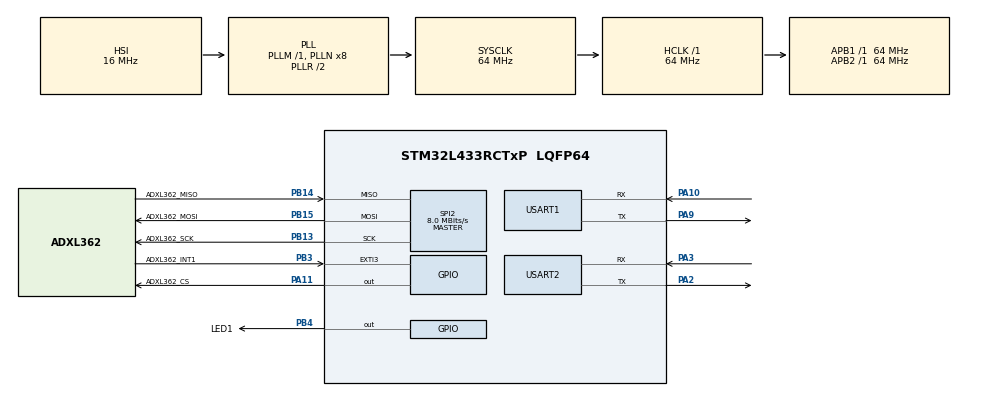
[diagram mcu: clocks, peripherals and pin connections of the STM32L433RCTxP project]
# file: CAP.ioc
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Dma.Request0=SPI2_TX
Dma.Request1=SPI2_RX
Dma.Request2=USART2_RX
Dma.Request3=USART2_TX
Dma.Request4=USART1_RX
Dma.Request5=USART1_TX
Dma.SPI2_RX.1.Direction=DMA_PERIPH_TO_MEMORY
Dma.SPI2_RX.1.Instance=DMA1_Channel4
Dma.SPI2_RX.1.MemDataAlignment=DMA_MDATAALIGN_BYTE
Dma.SPI2_RX.1.MemInc=DMA_MINC_ENABLE
Dma.SPI2_RX.1.Mode=DMA_NORMAL
Dma.SPI2_RX.1.PeriphDataAlignment=DMA_PDATAALIGN_BYTE
Dma.SPI2_RX.1.PeriphInc=DMA_PINC_DISABLE
Dma.SPI2_RX.1.Priority=DMA_PRIORITY_LOW
Dma.SPI2_TX.0.Direction=DMA_MEMORY_TO_PERIPH
Dma.SPI2_TX.0.Instance=DMA1_Channel5
Dma.SPI2_TX.0.MemDataAlignment=DMA_MDATAALIGN_BYTE
Dma.SPI2_TX.0.MemInc=DMA_MINC_ENABLE
Dma.SPI2_TX.0.Mode=DMA_NORMAL
Dma.SPI2_TX.0.PeriphDataAlignment=DMA_PDATAALIGN_BYTE
Dma.SPI2_TX.0.PeriphInc=DMA_PINC_DISABLE
Dma.SPI2_TX.0.Priority=DMA_PRIORITY_LOW
Dma.USART1_RX.4.Direction=DMA_PERIPH_TO_MEMORY
Dma.USART1_RX.4.Instance=DMA2_Channel7
Dma.USART1_RX.4.MemDataAlignment=DMA_MDATAALIGN_BYTE
Dma.USART1_RX.4.MemInc=DMA_MINC_ENABLE
Dma.USART1_RX.4.Mode=DMA_NORMAL
Dma.USART1_RX.4.PeriphDataAlignment=DMA_PDATAALIGN_BYTE
Dma.USART1_RX.4.PeriphInc=DMA_PINC_DISABLE
Dma.USART1_RX.4.Priority=DMA_PRIORITY_LOW
Dma.USART1_TX.5.Direction=DMA_MEMORY_TO_PERIPH
Dma.USART1_TX.5.Instance=DMA2_Channel6
Dma.USART1_TX.5.MemDataAlignment=DMA_MDATAALIGN_BYTE
Dma.USART1_TX.5.MemInc=DMA_MINC_ENABLE
Dma.USART1_TX.5.Mode=DMA_NORMAL
Dma.USART1_TX.5.PeriphDataAlignment=DMA_PDATAALIGN_BYTE
Dma.USART1_TX.5.PeriphInc=DMA_PINC_DISABLE
Dma.USART1_TX.5.Priority=DMA_PRIORITY_LOW
Dma.USART2_RX.2.Direction=DMA_PERIPH_TO_MEMORY
Dma.USART2_RX.2.Instance=DMA1_Channel6
Dma.USART2_RX.2.MemDataAlignment=DMA_MDATAALIGN_BYTE
Dma.USART2_RX.2.MemInc=DMA_MINC_ENABLE
Dma.USART2_RX.2.Mode=DMA_CIRCULAR
Dma.USART2_RX.2.PeriphDataAlignment=DMA_PDATAALIGN_BYTE
Dma.USART2_RX.2.PeriphInc=DMA_PINC_DISABLE
Dma.USART2_RX.2.Priority=DMA_PRIORITY_LOW
Dma.USART2_TX.3.Direction=DMA_MEMORY_TO_PERIPH
Dma.USART2_TX.3.Instance=DMA1_Channel7
Dma.USART2_TX.3.MemDataAlignment=DMA_MDATAALIGN_BYTE
Dma.USART2_TX.3.MemInc=DMA_MINC_ENABLE
Dma.USART2_TX.3.Mode=DMA_CIRCULAR
Dma.USART2_TX.3.PeriphDataAlignment=DMA_PDATAALIGN_BYTE
Dma.USART2_TX.3.PeriphInc=DMA_PINC_DISABLE
Dma.USART2_TX.3.Priority=DMA_PRIORITY_LOW
Mcu.Family=STM32L4
Mcu.Name=STM32L433RCTxP
Mcu.Package=LQFP64
NVIC.DMA1_Channel4_IRQn=true\:0\:0\:false\:false\:true\:false\:true
NVIC.DMA1_Channel5_IRQn=true\:0\:0\:false\:false\:true\:false\:true
NVIC.DMA1_Channel6_IRQn=true\:0\:0\:false\:false\:true\:false\:true
NVIC.DMA1_Channel7_IRQn=true\:0\:0\:false\:false\:true\:false\:true
NVIC.DMA2_Channel6_IRQn=true\:0\:0\:false\:false\:true\:false\:true
NVIC.DMA2_Channel7_IRQn=true\:0\:0\:false\:false\:true\:false\:true
NVIC.EXTI3_IRQn=true\:0\:0\:false\:false\:true\:true\:true
NVIC.PriorityGroup=NVIC_PRIORITYGROUP_4
PA10.Mode=Asynchronous
PA10.Signal=USART1_RX
PA11.GPIO_Label=ADXL362_CS
PA11.GPIO_Speed=GPIO_SPEED_FREQ_VERY_HIGH
PA11.PinState=GPIO_PIN_SET
PA11.Signal=GPIO_Output
PA13\ (JTMS-SWDIO).Mode=Serial_Wire
PA13\ (JTMS-SWDIO).Signal=SYS_JTMS-SWDIO
PA14\ (JTCK-SWCLK).Mode=Serial_Wire
PA14\ (JTCK-SWCLK).Signal=SYS_JTCK-SWCLK
PA2.Mode=Asynchronous
PA2.Signal=USART2_TX
PA3.Mode=Asynchronous
PA3.Signal=USART2_RX
PA9.Mode=Asynchronous
PA9.Signal=USART1_TX
PB13.GPIO_Label=ADXL362_SCK
PB13.Mode=Full_Duplex_Master
PB13.Signal=SPI2_SCK
PB14.GPIO_Label=ADXL362_MISO
PB14.Mode=Full_Duplex_Master
PB14.Signal=SPI2_MISO
PB15.GPIO_Label=ADXL362_MOSI
PB15.Mode=Full_Duplex_Master
PB15.Signal=SPI2_MOSI
PB3\ (JTDO-TRACESWO).GPIO_Label=ADXL362_INT1
PB3\ (JTDO-TRACESWO).Signal=GPXTI3
PB4\ (NJTRST).GPIO_Label=LED1
PB4\ (NJTRST).GPIO_Speed=GPIO_SPEED_FREQ_VERY_HIGH
PB4\ (NJTRST).Signal=GPIO_Output
ProjectManager.HeapSize=0x200
ProjectManager.StackSize=0x400
ProjectManager.TargetToolchain=SW4STM32
RCC.ADCFreq_Value=64000000
RCC.AHBFreq_Value=64000000
RCC.APB1Freq_Value=64000000
RCC.APB1TimFreq_Value=64000000
RCC.APB2Freq_Value=64000000
RCC.APB2TimFreq_Value=64000000
RCC.CortexFreq_Value=64000000
RCC.HCLKFreq_Value=64000000
RCC.HSE_VALUE=8000000
RCC.HSI48_VALUE=48000000
RCC.HSI_VALUE=16000000
RCC.LSE_VALUE=32768
RCC.MSI_VALUE=4000000
RCC.PLLSourceVirtual=RCC_PLLSOURCE_HSI
RCC.PREFETCH_ENABLE=1
RCC.SYSCLKFreq_VALUE=64000000
RCC.SYSCLKSource=RCC_SYSCLKSOURCE_PLLCLK
RCC.USBFreq_Value=64000000
RCC.VCOOutputFreq_Value=128000000
SPI2.BaudRatePrescaler=SPI_BAUDRATEPRESCALER_8
SPI2.CalculateBaudRate=8.0 MBits/s
SPI2.DataSize=SPI_DATASIZE_8BIT
SPI2.Direction=SPI_DIRECTION_2LINES
SPI2.Mode=SPI_MODE_MASTER
SPI2.VirtualType=VM_MASTER
USART1.VirtualMode-Asynchronous=VM_ASYNC
USART2.VirtualMode-Asynchronous=VM_ASYNC
board=NUCLEO-L433RC-P

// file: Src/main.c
/* USER CODE BEGIN Header */
/**
  ******************************************************************************
  * @file           : main.c
  * @brief          : Main program body
  ******************************************************************************
  * @attention
  *
  * <h2><center>&copy; Copyright (c) 2019 STMicroelectronics.
  * All rights reserved.</center></h2>
  *
  * This software component is licensed by ST under BSD 3-Clause license,
  * the "License"; You may not use this file except in compliance with the
  * License. You may obtain a copy of the License at:
  *                        opensource.org/licenses/BSD-3-Clause
  *
  ******************************************************************************
  */
/* USER CODE END Header */

#include "main.h"

/* USER CODE BEGIN Includes */
#include "ADXL362.h"
/* USER CODE END Includes */

SPI_HandleTypeDef hspi2;
DMA_HandleTypeDef hdma_spi2_tx;
DMA_HandleTypeDef hdma_spi2_rx;

UART_HandleTypeDef huart1;
UART_HandleTypeDef huart2;
DMA_HandleTypeDef hdma_usart1_rx;
DMA_HandleTypeDef hdma_usart1_tx;
DMA_HandleTypeDef hdma_usart2_rx;
DMA_HandleTypeDef hdma_usart2_tx;

void SystemClock_Config(void);
static void MX_GPIO_Init(void);
static void MX_DMA_Init(void);
static void MX_SPI2_Init(void);
static void MX_USART2_UART_Init(void);
static void MX_USART1_UART_Init(void);

int main(void)
{
  /* USER CODE BEGIN 1 */
	float ang[400], thresh[4], tilt[3];
	char message[200];
	uint8_t GarageState;
	uint16_t  data_counter = 0;
	volatile uint32_t  ADXL362_AFlag = 0;
  /* USER CODE END 1 */

  /* MCU Configuration--------------------------------------------------------*/

  /* Reset of all peripherals, Initializes the Flash interface and the Systick. */
  HAL_Init();

  /* Configure the system clock */
  SystemClock_Config();

  /* Initialize all configured peripherals */
  MX_GPIO_Init();
  MX_DMA_Init();
  MX_SPI2_Init();
  MX_USART2_UART_Init();
  MX_USART1_UART_Init();
  /* USER CODE BEGIN 2 */

	// Initialize ADXL362
	ADXL362_Init();

	ADXL362_GetAngT(thresh, 0);

	// Display & transmit current threshold angles
	sprintf(message, "\r\nxT:%+lf yT:%+lf zT:%+lf Temp:%lf\r\n", thresh[0], thresh[1], thresh[2], thresh[3]);
	HAL_UART_Transmit(&huart2, (uint8_t*)message, strlen(message), 0xFFFF);

  /* USER CODE END 2 */

  /* Infinite loop */
  /* USER CODE BEGIN WHILE */
  while (1)
  {
	  // Check ADXL362 Awake interrupt to determine if the device is moving
	  ADXL362_AFlag = HAL_GPIO_ReadPin(ADXL362_INT1_GPIO_Port, ADXL362_INT1_Pin);
	  if (ADXL362_AFlag == 0){			// If the device is not moving then sleep
		  sprintf(message, "\r\nMCU is going night night!\r\n");
		  HAL_UART_Transmit(&huart2, (uint8_t*)message, strlen(message), 0xFFFF);
		  ADXL362_GetAngT(ang, 0);
		  ADXL362_GetTiltState(ang, 0, thresh, tilt, &GarageState);

		  // Display & transmit final garage door data
		  sprintf(message, " X%+lf Y%+lf Z%+lf T%+lf S%d A%+lf \r\n", ang[data_counter], ang[1 + data_counter], ang[2 + data_counter], ang[3 + data_counter], GarageState, tilt[1]);
		  HAL_UART_Transmit(&huart2, (uint8_t*)message, strlen(message), 0xFFFF);
		  HAL_Delay(200);
		  HAL_SuspendTick();
		  HAL_PWR_EnterSLEEPMode(PWR_LOWPOWERREGULATOR_ON, PWR_SLEEPENTRY_WFI);
		  HAL_ResumeTick();
	  } else {		// Otherwise, process sensor data
		  HAL_Delay(2);
		  ADXL362_GetAngT(ang, data_counter);	// Get X,Y,Z angles and temperature
		  if(data_counter == 396){		// Calculate tilt for every 100th data set and transmit

			  ADXL362_GetTiltState(ang, data_counter, thresh, tilt, &GarageState);

			  // Display & transmit garage door data
			  sprintf(message, " X%+lf Y%+lf Z%+lf T%+lf S%d A%+lf \r\n", ang[data_counter], ang[1 + data_counter], ang[2 + data_counter], ang[3 + data_counter], GarageState, tilt[1]);
			  HAL_UART_Transmit(&huart2, (uint8_t*)message, strlen(message), 0xFFFF);
			  HAL_UART_Transmit(&huart1, (uint8_t*)message, strlen(message), 0xFFFF);
			  data_counter = 0;		// Reset data_counter
		  }
		  data_counter += 4;	// Increment data_counter
	  }

    /* USER CODE END WHILE */

  }
}

void SystemClock_Config(void)
{
  RCC_OscInitTypeDef RCC_OscInitStruct = {0};
  RCC_ClkInitTypeDef RCC_ClkInitStruct = {0};
  RCC_PeriphCLKInitTypeDef PeriphClkInit = {0};

  /** Initializes the CPU, AHB and APB busses clocks
  */
  RCC_OscInitStruct.OscillatorType = RCC_OSCILLATORTYPE_HSI;
  RCC_OscInitStruct.HSIState = RCC_HSI_ON;
  RCC_OscInitStruct.HSICalibrationValue = RCC_HSICALIBRATION_DEFAULT;
  RCC_OscInitStruct.PLL.PLLState = RCC_PLL_ON;
  RCC_OscInitStruct.PLL.PLLSource = RCC_PLLSOURCE_HSI;
  RCC_OscInitStruct.PLL.PLLM = 1;
  RCC_OscInitStruct.PLL.PLLN = 8;
  RCC_OscInitStruct.PLL.PLLP = RCC_PLLP_DIV7;
  RCC_OscInitStruct.PLL.PLLQ = RCC_PLLQ_DIV2;
  RCC_OscInitStruct.PLL.PLLR = RCC_PLLR_DIV2;
  if (HAL_RCC_OscConfig(&RCC_OscInitStruct) != HAL_OK)
  {
    Error_Handler();
  }
  /** Initializes the CPU, AHB and APB busses clocks
  */
  RCC_ClkInitStruct.ClockType = RCC_CLOCKTYPE_HCLK|RCC_CLOCKTYPE_SYSCLK
                              |RCC_CLOCKTYPE_PCLK1|RCC_CLOCKTYPE_PCLK2;
  RCC_ClkInitStruct.SYSCLKSource = RCC_SYSCLKSOURCE_PLLCLK;
  RCC_ClkInitStruct.AHBCLKDivider = RCC_SYSCLK_DIV1;
  RCC_ClkInitStruct.APB1CLKDivider = RCC_HCLK_DIV1;
  RCC_ClkInitStruct.APB2CLKDivider = RCC_HCLK_DIV1;

  if (HAL_RCC_ClockConfig(&RCC_ClkInitStruct, FLASH_LATENCY_3) != HAL_OK)
  {
    Error_Handler();
  }
  PeriphClkInit.PeriphClockSelection = RCC_PERIPHCLK_USART1|RCC_PERIPHCLK_USART2;
  PeriphClkInit.Usart1ClockSelection = RCC_USART1CLKSOURCE_PCLK2;
  PeriphClkInit.Usart2ClockSelection = RCC_USART2CLKSOURCE_PCLK1;
  if (HAL_RCCEx_PeriphCLKConfig(&PeriphClkInit) != HAL_OK)
  {
    Error_Handler();
  }
  /** Configure the main internal regulator output voltage
  */
  if (HAL_PWREx_ControlVoltageScaling(PWR_REGULATOR_VOLTAGE_SCALE1) != HAL_OK)
  {
    Error_Handler();
  }
}

static void MX_SPI2_Init(void)
{

  /* SPI2 parameter configuration*/
  hspi2.Instance = SPI2;
  hspi2.Init.Mode = SPI_MODE_MASTER;
  hspi2.Init.Direction = SPI_DIRECTION_2LINES;
  hspi2.Init.DataSize = SPI_DATASIZE_8BIT;
  hspi2.Init.CLKPolarity = SPI_POLARITY_LOW;
  hspi2.Init.CLKPhase = SPI_PHASE_1EDGE;
  hspi2.Init.NSS = SPI_NSS_SOFT;
  hspi2.Init.BaudRatePrescaler = SPI_BAUDRATEPRESCALER_8;
  hspi2.Init.FirstBit = SPI_FIRSTBIT_MSB;
  hspi2.Init.TIMode = SPI_TIMODE_DISABLE;
  hspi2.Init.CRCCalculation = SPI_CRCCALCULATION_DISABLE;
  hspi2.Init.CRCPolynomial = 7;
  hspi2.Init.CRCLength = SPI_CRC_LENGTH_DATASIZE;
  hspi2.Init.NSSPMode = SPI_NSS_PULSE_ENABLE;
  if (HAL_SPI_Init(&hspi2) != HAL_OK)
  {
    Error_Handler();
  }

}

static void MX_USART1_UART_Init(void)
{

  huart1.Instance = USART1;
  huart1.Init.BaudRate = 115200;
  huart1.Init.WordLength = UART_WORDLENGTH_8B;
  huart1.Init.StopBits = UART_STOPBITS_1;
  huart1.Init.Parity = UART_PARITY_NONE;
  huart1.Init.Mode = UART_MODE_TX_RX;
  huart1.Init.HwFlowCtl = UART_HWCONTROL_NONE;
  huart1.Init.OverSampling = UART_OVERSAMPLING_16;
  huart1.Init.OneBitSampling = UART_ONE_BIT_SAMPLE_DISABLE;
  huart1.AdvancedInit.AdvFeatureInit = UART_ADVFEATURE_NO_INIT;
  if (HAL_UART_Init(&huart1) != HAL_OK)
  {
    Error_Handler();
  }

}

static void MX_USART2_UART_Init(void)
{

  huart2.Instance = USART2;
  huart2.Init.BaudRate = 115200;
  huart2.Init.WordLength = UART_WORDLENGTH_8B;
  huart2.Init.StopBits = UART_STOPBITS_1;
  huart2.Init.Parity = UART_PARITY_NONE;
  huart2.Init.Mode = UART_MODE_TX_RX;
  huart2.Init.HwFlowCtl = UART_HWCONTROL_NONE;
  huart2.Init.OverSampling = UART_OVERSAMPLING_16;
  huart2.Init.OneBitSampling = UART_ONE_BIT_SAMPLE_DISABLE;
  huart2.AdvancedInit.AdvFeatureInit = UART_ADVFEATURE_NO_INIT;
  if (HAL_UART_Init(&huart2) != HAL_OK)
  {
    Error_Handler();
  }

}

static void MX_DMA_Init(void)
{

  /* DMA controller clock enable */
  __HAL_RCC_DMA1_CLK_ENABLE();
  __HAL_RCC_DMA2_CLK_ENABLE();

  /* DMA interrupt init */
  /* DMA1_Channel4_IRQn interrupt configuration */
  HAL_NVIC_SetPriority(DMA1_Channel4_IRQn, 0, 0);
  HAL_NVIC_EnableIRQ(DMA1_Channel4_IRQn);
  /* DMA1_Channel5_IRQn interrupt configuration */
  HAL_NVIC_SetPriority(DMA1_Channel5_IRQn, 0, 0);
  HAL_NVIC_EnableIRQ(DMA1_Channel5_IRQn);
  /* DMA1_Channel6_IRQn interrupt configuration */
  HAL_NVIC_SetPriority(DMA1_Channel6_IRQn, 0, 0);
  HAL_NVIC_EnableIRQ(DMA1_Channel6_IRQn);
  /* DMA1_Channel7_IRQn interrupt configuration */
  HAL_NVIC_SetPriority(DMA1_Channel7_IRQn, 0, 0);
  HAL_NVIC_EnableIRQ(DMA1_Channel7_IRQn);
  /* DMA2_Channel6_IRQn interrupt configuration */
  HAL_NVIC_SetPriority(DMA2_Channel6_IRQn, 0, 0);
  HAL_NVIC_EnableIRQ(DMA2_Channel6_IRQn);
  /* DMA2_Channel7_IRQn interrupt configuration */
  HAL_NVIC_SetPriority(DMA2_Channel7_IRQn, 0, 0);
  HAL_NVIC_EnableIRQ(DMA2_Channel7_IRQn);

}

static void MX_GPIO_Init(void)
{
  GPIO_InitTypeDef GPIO_InitStruct = {0};

  /* GPIO Ports Clock Enable */
  __HAL_RCC_GPIOA_CLK_ENABLE();
  __HAL_RCC_GPIOB_CLK_ENABLE();

  /*Configure GPIO pin Output Level */
  HAL_GPIO_WritePin(ADXL362_CS_GPIO_Port, ADXL362_CS_Pin, GPIO_PIN_SET);

  /*Configure GPIO pin Output Level */
  HAL_GPIO_WritePin(LED1_GPIO_Port, LED1_Pin, GPIO_PIN_RESET);

  /*Configure GPIO pin : ADXL362_CS_Pin */
  GPIO_InitStruct.Pin = ADXL362_CS_Pin;
  GPIO_InitStruct.Mode = GPIO_MODE_OUTPUT_PP;
  GPIO_InitStruct.Pull = GPIO_NOPULL;
  GPIO_InitStruct.Speed = GPIO_SPEED_FREQ_VERY_HIGH;
  HAL_GPIO_Init(ADXL362_CS_GPIO_Port, &GPIO_InitStruct);

  /*Configure GPIO pin : ADXL362_INT1_Pin */
  GPIO_InitStruct.Pin = ADXL362_INT1_Pin;
  GPIO_InitStruct.Mode = GPIO_MODE_IT_RISING;
  GPIO_InitStruct.Pull = GPIO_NOPULL;
  HAL_GPIO_Init(ADXL362_INT1_GPIO_Port, &GPIO_InitStruct);

  /*Configure GPIO pin : LED1_Pin */
  GPIO_InitStruct.Pin = LED1_Pin;
  GPIO_InitStruct.Mode = GPIO_MODE_OUTPUT_PP;
  GPIO_InitStruct.Pull = GPIO_NOPULL;
  GPIO_InitStruct.Speed = GPIO_SPEED_FREQ_VERY_HIGH;
  HAL_GPIO_Init(LED1_GPIO_Port, &GPIO_InitStruct);

  /* EXTI interrupt init*/
  HAL_NVIC_SetPriority(EXTI3_IRQn, 0, 0);
  HAL_NVIC_EnableIRQ(EXTI3_IRQn);

}

void Error_Handler(void)
{
}

/************************ (C) COPYRIGHT STMicroelectronics *****END OF FILE****/
